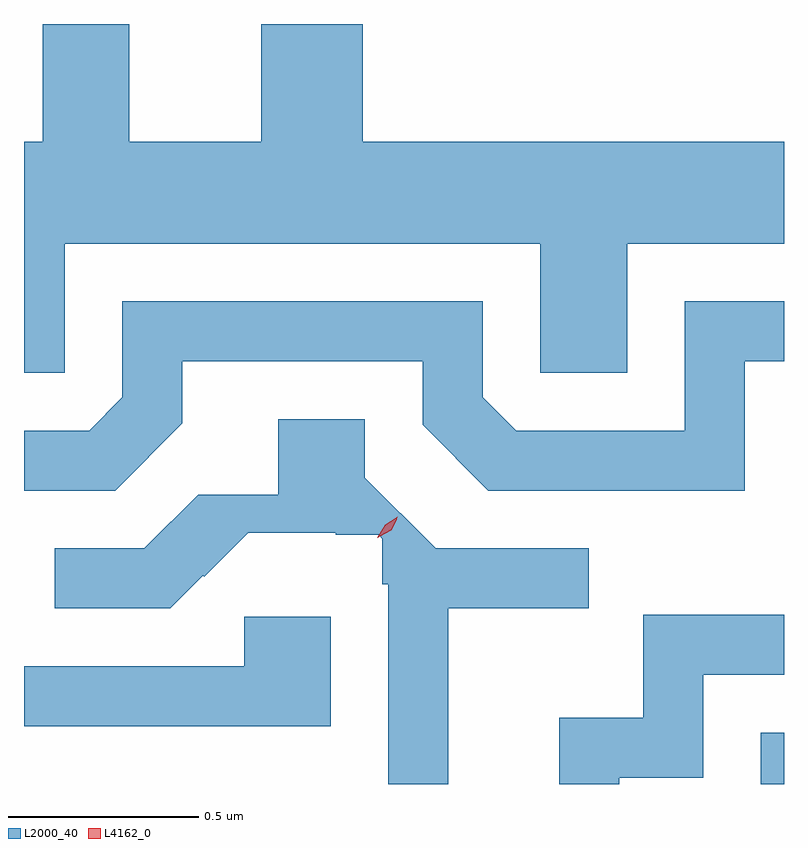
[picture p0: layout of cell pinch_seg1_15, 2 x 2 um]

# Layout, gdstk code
import gdstk
lib = gdstk.Library(unit=1e-6, precision=1e-09)
def R(c, l, rs):  # rectangles x0, y0, x1, y1
    for r in rs: c.add(gdstk.rectangle(r[:2], r[2:], *l))
def P(c, l, *ps):  # polygons
    for p in ps: c.add(gdstk.Polygon(p, *l))
L2000_40 = (2000, 40)
L4162_0 = (4162, 0)

pinch_seg1_15 = lib.new_cell('pinch_seg1_15')
R(pinch_seg1_15, L2000_40, [(1874.731,847.094,1874.792,847.229)])
P(pinch_seg1_15, L2000_40, [(1872.899,848.516),(1874.151,848.516),(1874.151,848.176),(1874.379,848.176),(1874.379,848.516),(1874.792,848.516),(1874.792,848.784),(1873.684,848.784),(1873.684,849.094),(1873.416,849.094),(1873.416,848.784),(1873.069,848.784),(1873.069,849.094),(1872.841,849.094),(1872.841,848.784),(1872.792,848.784),(1872.792,848.176),(1872.899,848.176)],
  [(1873.209,848.044),(1873.209,848.206),(1873.841,848.206),(1873.841,848.039),(1874.014,847.866),(1874.689,847.866),(1874.689,848.206),(1874.792,848.206),(1874.792,848.364),(1874.531,848.364),(1874.531,848.024),(1874.087,848.024),(1873.999,848.112),(1873.999,848.364),(1873.051,848.364),(1873.051,848.112),(1872.964,848.024),(1872.792,848.024),(1872.792,847.866),(1873.032,847.866)],
  [(1873.909,847.556),(1874.278,847.556),(1874.278,847.714),(1873.875,847.714),(1873.689,847.9),(1873.689,848.054),(1873.461,848.054),(1873.461,847.855),(1873.25,847.855),(1873.109,847.714),(1872.873,847.714),(1872.873,847.556),(1873.177,847.556),(1873.263,847.642),(1873.266,847.639),(1873.382,847.755),(1873.612,847.755),(1873.612,847.75),(1873.726,847.75),(1873.735,847.74),(1873.735,847.62),(1873.751,847.62),(1873.751,847.094),(1873.909,847.094)],
  [(1874.359,847.111),(1874.579,847.111),(1874.579,847.381),(1874.792,847.381),(1874.792,847.539),(1874.421,847.539),(1874.421,847.269),(1874.201,847.269),(1874.201,847.094),(1874.359,847.094)],
  [(1873.599,847.534),(1873.371,847.534),(1873.371,847.404),(1872.792,847.404),(1872.792,847.246),(1873.599,847.246)])
P(pinch_seg1_15, L4162_0, [(1873.722,847.742),(1873.722,847.742),(1873.742,847.776),(1873.775,847.797),(1873.776,847.797),(1873.776,847.797),(1873.756,847.763),(1873.723,847.742)],
  [(1873.728,847.746),(1873.728,847.747),(1873.743,847.775),(1873.772,847.791),(1873.773,847.791),(1873.773,847.79),(1873.758,847.762),(1873.729,847.746)])

lib.write_gds('pinch_seg1_15.gds')
